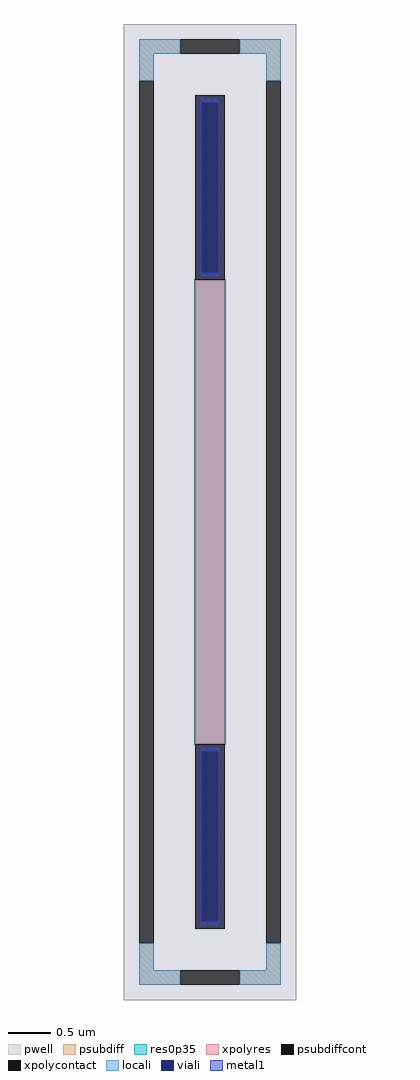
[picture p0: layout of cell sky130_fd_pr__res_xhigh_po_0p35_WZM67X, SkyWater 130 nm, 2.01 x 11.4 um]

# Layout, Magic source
magic
tech sky130A
magscale 1 2
<< pwell >>
rect -201 -1140 201 1140
<< psubdiff >>
rect -165 1070 -69 1104
rect 69 1070 165 1104
rect -165 1008 -131 1070
rect 131 1008 165 1070
rect -165 -1070 -131 -1008
rect 131 -1070 165 -1008
rect -165 -1104 -69 -1070
rect 69 -1104 165 -1070
<< psubdiffcont >>
rect -69 1070 69 1104
rect -165 -1008 -131 1008
rect 131 -1008 165 1008
rect -69 -1104 69 -1070
<< xpolycontact >>
rect -35 542 35 974
rect -35 -974 35 -542
<< xpolyres >>
rect -35 -542 35 542
<< locali >>
rect -165 1070 -69 1104
rect 69 1070 165 1104
rect -165 1008 -131 1070
rect 131 1008 165 1070
rect -165 -1070 -131 -1008
rect 131 -1070 165 -1008
rect -165 -1104 -69 -1070
rect 69 -1104 165 -1070
<< viali >>
rect -19 559 19 956
rect -19 -956 19 -559
<< metal1 >>
rect -25 956 25 968
rect -25 559 -19 956
rect 19 559 25 956
rect -25 547 25 559
rect -25 -559 25 -547
rect -25 -956 -19 -559
rect 19 -956 25 -559
rect -25 -968 25 -956
<< res0p35 >>
rect -37 -544 37 544
<< properties >>
string FIXED_BBOX -148 -1087 148 1087
string gencell sky130_fd_pr__res_xhigh_po_0p35
string library sky130
string parameters w 0.350 l 5.42 m 1 nx 1 wmin 0.350 lmin 0.50 rho 2000 val 32.046k dummy 0 dw 0.0 term 188.2 sterm 0.0 caplen 0 wmax 0.350 guard 1 glc 1 grc 1 gtc 1 gbc 1 compatible {sky130_fd_pr__res_xhigh_po_0p35  sky130_fd_pr__res_xhigh_po_0p69 sky130_fd_pr__res_xhigh_po_1p41  sky130_fd_pr__res_xhigh_po_2p85 sky130_fd_pr__res_xhigh_po_5p73} full_metal 1 n_guard 0 hv_guard 0 vias 1 viagb 0 viagt 0 viagl 0 viagr 0
<< end >>
